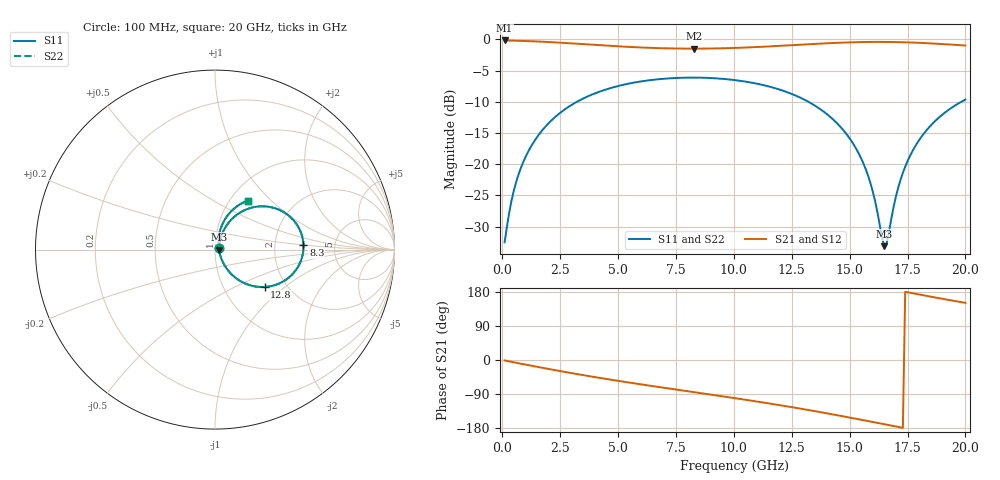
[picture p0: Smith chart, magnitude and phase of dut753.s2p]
! Touchstone file exported from HFSS 2026.1.0
!  File:  C:/ffzhzh/LocalFiles/Ansys_Project_Files/temp_train_TSV_RDL_753_1783206268_22436.aedt
!  Generated:  07:14:19 AM Jul  5, 2026
!  Design:  TSV_RDL
!  Project:  temp_train_TSV_RDL_753_1783206268_22436
! Variables:
!  h_bsmrdl = 2.55um
!  h_ox = 20um
!  h_rdl = 5um
!  h_sub = 82.32um
!  h_tmrdl = 5.32um
!  h_tsv = 82.32um
!  h_via = 3um
!  l_bsmrdl = 362.27um
!  l_sub = 3120.44um
!  l_tmrdl = 388.93um
!  m_sub = 200um
!  pitch = 41.81um
!  r_tsv = 12.46um
!  s_tmrdl = 10um
!  w_bsmrdl = 15.42um
!  w_sub = 500um
!  w_tmrdl = 10.55um
!  x_tsv_center1 = 394.205um
!  x_tsv_center2 = 771.895um
!  x_tsv_center3 = 1171.375um
!  x_tsv_center4 = 1549.065um
!  x_tsv_center5 = 1948.545um
!  x_tsv_center6 = 2326.235um
# GHz S MA R 50.000000
! Terminal data exported
! Port[1] = TM_RDL1_1_T1
! Port[2] = TM_RDL5_1_T1
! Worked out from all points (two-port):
!   200 points, 100 MHz to 20 GHz, reference 50 ohm
!   highest |S21| = -0.18 dB at 100 MHz (marker M1); lowest = -1.5 dB at 8.3 GHz (marker M2)
!   |S21| within 3 dB of the highest: start of sweep to end of sweep
!   lowest |S11| = -33.1 dB at 16.5 GHz (marker M3), VSWR 1.05, Z = 52.2 + j0.0374 ohm
!   |S11| at or under -10 dB: start of sweep to 3.226 GHz; 13.21 GHz to 19.83 GHz (6.615 GHz wide, 40 % of centre)
!   |S22| runs from -33.1 to -6.1 dB; largest |S21 - S12| = 2.6e-14
!   S11 on the Smith chart (normalised r, x): 100 MHz: 1.04, +0.02; 8.3 GHz: 2.93, +0.19; 12.8 GHz: 1.55, -0.73; 20 GHz: 1.20, +0.74
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0.1  0.02365 28.8  0.9795 -1.2  0.9795 -1.2  0.02365 28.8
! Gamma 0 0 0 0
! Port Impedance 50 0 50 0
0.5  0.06162 62.7  0.9761 -6.1  0.9761 -6.1  0.06162 62.7
0.8  0.09297 65.7  0.9725 -9.7  0.9725 -9.7  0.09297 65.7
1.2  0.1343 65.2  0.9668 -14.4  0.9668 -14.4  0.1343 65.2
2.2  0.2312 57.7  0.9474 -25.9  0.9474 -25.9  0.2312 57.7
3.5  0.336 45.5  0.9151 -40.0  0.9151 -40.0  0.336 45.5
6.8  0.4801 15.6  0.8498 -71.7  0.8498 -71.7  0.4801 15.6
8.3  0.4936 2.9  0.8421 -85.0  0.8421 -85.0  0.4936 2.9
10.1  0.4699 -12.5  0.854 -101.2  0.854 -101.2  0.4699 -12.5
12.8  0.3456 -37.0  0.9043 -127.5  0.9043 -127.5  0.3457 -37.0
13.4  0.3022 -42.7  0.9173 -133.9  0.9173 -133.9  0.3023 -42.7
14.6  0.1993 -53.5  0.94 -147.2  0.94 -147.2  0.1993 -53.5
15.4  0.121 -58.5  0.9499 -156.5  0.9499 -156.5  0.1211 -58.4
16  0.06039 -54.5  0.9534 -163.6  0.9534 -163.6  0.06044 -54.5
16.5  0.02201 0.9  0.9534 -169.5  0.9534 -169.5  0.02204 0.8
16.6  0.02317 27.1  0.9531 -170.7  0.9531 -170.7  0.02319 26.9
16.7  0.02862 46.5  0.9527 -171.9  0.9527 -171.9  0.02862 46.4
16.9  0.04548 65.2  0.9515 -174.2  0.9515 -174.2  0.04546 65.2
17.2  0.07501 73.5  0.9489 -177.8  0.9489 -177.8  0.07498 73.5
17.8  0.1357 74.4  0.9411 175.2  0.9411 175.2  0.1357 74.4
18.7  0.2222 68.0  0.9238 164.9  0.9238 164.9  0.2222 68.0
20  0.3288 56.2  0.8921 150.8  0.8921 150.8  0.3288 56.2
